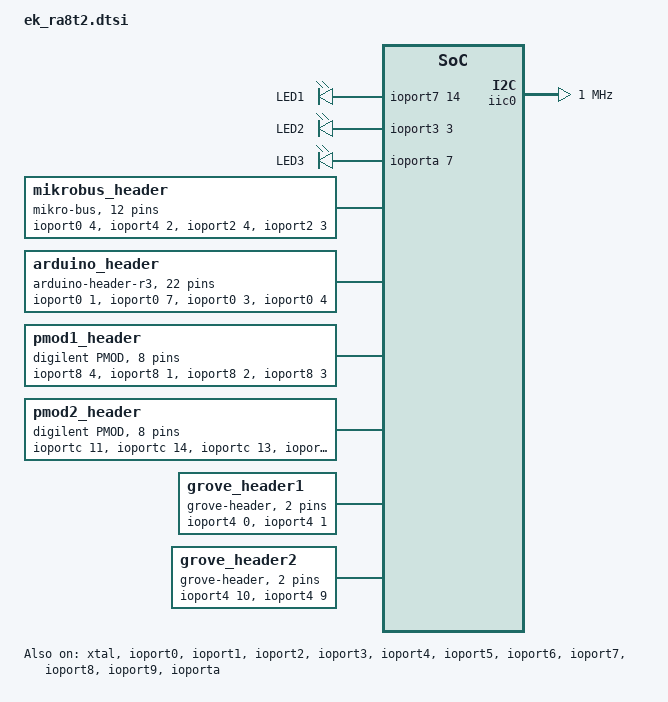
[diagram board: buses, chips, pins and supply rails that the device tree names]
/*
 * Copyright (c) 2026 Renesas Electronics Corporation
 * SPDX-License-Identifier: Apache-2.0
 */

#include <zephyr/dt-bindings/gpio/gpio.h>
#include <zephyr/dt-bindings/gpio/arduino-header-r3.h>
#include <zephyr/dt-bindings/input/input-event-codes.h>
#include <zephyr/dt-bindings/memory-attr/memory-attr-arm.h>
#include "ek_ra8t2-pinctrl.dtsi"

/ {
	leds {
		compatible = "gpio-leds";

		led1: led1 {
			gpios = <&ioport7 14 GPIO_ACTIVE_HIGH>;
			label = "LED1";
		};

		led2: led2 {
			gpios = <&ioport3 3 GPIO_ACTIVE_HIGH>;
			label = "LED2";
		};

		led3: led3 {
			gpios = <&ioporta 7 GPIO_ACTIVE_HIGH>;
			label = "LED3";
		};
	};

	buttons {
		compatible = "gpio-keys";

		button0: s1 {
			gpios = <&ioport0 9 (GPIO_PULL_UP | GPIO_ACTIVE_LOW)>;
			label = "Push button switch 1";
			zephyr,code = <INPUT_KEY_0>;
			status = "disabled";
		};

		button1: s2 {
			gpios = <&ioport0 8 (GPIO_PULL_UP | GPIO_ACTIVE_LOW)>;
			label = "Push button switch 2";
			zephyr,code = <INPUT_KEY_1>;
			status = "disabled";
		};
	};

	mikrobus_header: mikrobus-connector {
		compatible = "mikro-bus";
		#gpio-cells = <2>;
		gpio-map-mask = <0xffffffff 0xffffffc0>;
		gpio-map-pass-thru = <0 0x3f>;
		gpio-map = <0 0 &ioport0 4 0>,	/* AN  */
			   <1 0 &ioport4 2 0>,	/* RST */
			   <2 0 &ioport2 4 0>,	/* CS   */
			   <3 0 &ioport2 3 0>,	/* SCK  */
			   <4 0 &ioport3 13 0>,	/* MISO */
			   <5 0 &ioport2 2 0>,	/* MOSI */
			   /* +3.3V */
			   /* GND */
			   <6 0 &ioport8 10 0>,	/* PWM  */
			   <7 0 &ioport9 3 0>,	/* INT  */
			   <8 0 &ioport8 8 0>,	/* RX   */
			   <9 0 &ioport8 9 0>,	/* TX   */
			   <10 0 &ioport4 0 0>, /* SCL  */
			   <11 0 &ioport4 1 0>; /* SDA  */
		/* +5V */
		/* GND */
	};

	arduino_header: arduino-connector {
		compatible = "arduino-header-r3";
		#gpio-cells = <2>;
		gpio-map-mask = <0xffffffff 0xffffffc0>;
		gpio-map-pass-thru = <0 0x3f>;
		gpio-map = <ARDUINO_HEADER_R3_A0 0 &ioport0 1 0>,
			   <ARDUINO_HEADER_R3_A1 0 &ioport0 7 0>,
			   <ARDUINO_HEADER_R3_A2 0 &ioport0 3 0>,
			   <ARDUINO_HEADER_R3_A3 0 &ioport0 4 0>,
			   <ARDUINO_HEADER_R3_A4 0 &ioport0 14 0>,
			   <ARDUINO_HEADER_R3_A5 0 &ioport0 15 0>,
			   <ARDUINO_HEADER_R3_D0 0 &ioport8 8 0>,
			   <ARDUINO_HEADER_R3_D1 0 &ioport8 9 0>,
			   <ARDUINO_HEADER_R3_D2 0 &ioport0 11 0>,
			   <ARDUINO_HEADER_R3_D3 0 &ioport8 11 0>,
			   <ARDUINO_HEADER_R3_D4 0 &ioport8 10 0>,
			   <ARDUINO_HEADER_R3_D5 0 &ioport6 1 0>,
			   <ARDUINO_HEADER_R3_D6 0 &ioport6 0 0>,
			   <ARDUINO_HEADER_R3_D7 0 &ioport5 2 0>,
			   <ARDUINO_HEADER_R3_D8 0 &ioport9 3 0>,
			   <ARDUINO_HEADER_R3_D9 0 &ioport1 10 0>,
			   <ARDUINO_HEADER_R3_D10 0 &ioport2 4 0>,
			   <ARDUINO_HEADER_R3_D11 0 &ioport2 2 0>,
			   <ARDUINO_HEADER_R3_D12 0 &ioport3 13 0>,
			   <ARDUINO_HEADER_R3_D13 0 &ioport2 3 0>,
			   <ARDUINO_HEADER_R3_D14 0 &ioport4 1 0>,
			   <ARDUINO_HEADER_R3_D15 0 &ioport4 0 0>;
	};

	pmod1_header: pmod-connector-1 {
		compatible = "digilent,pmod";
		#gpio-cells = <2>;
		gpio-map-mask = <0xffffffff 0xffffffc0>;
		gpio-map-pass-thru = <0 0x3f>;
		gpio-map = <0 0 &ioport8 4 0>,	/* IO1 */
			   <1 0 &ioport8 1 0>,	/* IO2 */
			   <2 0 &ioport8 2 0>,	/* IO3 */
			   <3 0 &ioport8 3 0>,	/* IO4 */
			   <4 0 &ioport0 6 0>,	/* IO5 */
			   <5 0 &ioport7 13 0>,	/* IO6 */
			   <6 0 &ioport0 10 0>,	/* IO7 */
			   <7 0 &ioport7 12 0>;	/* IO8 */
	};

	pmod2_header: pmod-connector-2 {
		compatible = "digilent,pmod";
		#gpio-cells = <2>;
		gpio-map-mask = <0xffffffff 0xffffffc0>;
		gpio-map-pass-thru = <0 0x3f>;
		gpio-map = <0 0 &ioportc 11 0>,	/* IO1 */
			   <1 0 &ioportc 14 0>,	/* IO2 */
			   <2 0 &ioportc 13 0>,	/* IO3 */
			   <3 0 &ioportc 12 0>,	/* IO4 */
			   <4 0 &ioport0 12 0>,	/* IO5 */
			   <5 0 &ioport8 7 0>,	/* IO6 */
			   <6 0 &ioport1 11 0>,	/* IO7 */
			   <7 0 &ioport9 14 0>;	/* IO8 */
	};

	grove_header1: grove_header1 {
		compatible = "grove-header";
		#gpio-cells = <2>;
		gpio-map-mask = <0xffffffff 0xffffffc0>;
		gpio-map-pass-thru = <0 0x3f>;
		gpio-map = <0 0 &ioport4 0 0>,	/* SCL */
			   <1 0 &ioport4 1 0>;	/* SDA */
	};

	grove_header2: grove_header2 {
		compatible = "grove-header";
		#gpio-cells = <2>;
		gpio-map-mask = <0xffffffff 0xffffffc0>;
		gpio-map-pass-thru = <0 0x3f>;
		gpio-map = <0 0 &ioport4 10 0>,	/* SCL */
			   <1 0 &ioport4 9 0>;	/* SDA */
	};

	aliases {
		watchdog0 = &wdt0;
		i2c-0 = &iic0;
		pwm-test = &pwm6;
	};
};

&sci6 {
	pinctrl-0 = <&sci6_default>;
	pinctrl-names = "default";

	uart6: uart {};
};

&sci7 {
	pinctrl-0 = <&sci7_default>;
	pinctrl-names = "default";

	uart7: uart {};
};

&sci8 {
	pinctrl-0 = <&sci8_default>;
	pinctrl-names = "default";
};

&spi0 {
	pinctrl-0 = <&spi0_default>;
	pinctrl-names = "default";
};

&iic0 {
	#address-cells = <1>;
	#size-cells = <0>;
	clock-frequency = <DT_FREQ_M(1)>;
	pinctrl-0 = <&iic0_default>;
	pinctrl-names = "default";
};

&canfd_global {
	canfd0 {
		pinctrl-0 = <&canfd0_default>;
		pinctrl-names = "default";
		rx-max-filters = <16>;

		can-transceiver {
			max-bitrate = <5000000>;
		};
	};

	canfd1 {
		pinctrl-0 = <&canfd1_default>;
		pinctrl-names = "default";
		rx-max-filters = <16>;

		can-transceiver {
			max-bitrate = <5000000>;
		};
	};
};

&pwm6 {
	pinctrl-0 = <&pwm6_default>;
	pinctrl-names = "default";
};

&usbfs {
	pinctrl-0 = <&usbfs_default>;
	pinctrl-names = "default";
	maximum-speed = "full-speed";
};

&xtal {
	clock-frequency = <DT_FREQ_M(24)>;
	mosel = <0>;
	#clock-cells = <0>;
	status = "okay";
};

&subclk {
	status = "okay";
};

&pll {
	status = "okay";

	pllp {
		status = "okay";
	};

	pllq {
		status = "okay";
	};

	pllr {
		status = "okay";
	};
};

&pll2 {
	status = "okay";

	pll2p {
		status = "okay";
	};

	pll2q {
		status = "okay";
	};

	pll2r {
		status = "okay";
	};
};

&sciclk {
	clocks = <&pll2r>;
	div = <4>;
	status = "okay";
};

&eswclk {
	clocks = <&pllp>;
	div = <4>;
	status = "okay";
};

&eswphyclk {
	clocks = <&pllp>;
	div = <2>;
	status = "okay";
};

&ethphyclk {
	clocks = <&pllr>;
	div = <16>;
	status = "okay";
};

&canfdclk {
	status = "okay";
};

&gptclk {
	status = "okay";
};

&uclk {
	status = "okay";
};

&ioport0 {
	status = "okay";
};

&ioport1 {
	status = "okay";
};

&ioport2 {
	status = "okay";
};

&ioport3 {
	status = "okay";
};

&ioport4 {
	status = "okay";
};

&ioport5 {
	status = "okay";
};

&ioport6 {
	status = "okay";
};

&ioport7 {
	status = "okay";
};

&ioport8 {
	status = "okay";
};

&ioport9 {
	status = "okay";
};

&ioporta {
	status = "okay";
};

mikrobus_serial: &uart7 {};

mikrobus_spi: &spi0 {};

arduino_serial: &uart7 {};

arduino_spi: &spi0 {};

pmod2_serial: &uart6 {};

pmod_serial: &pmod2_serial {};

pmod_header: &pmod2_header {};
